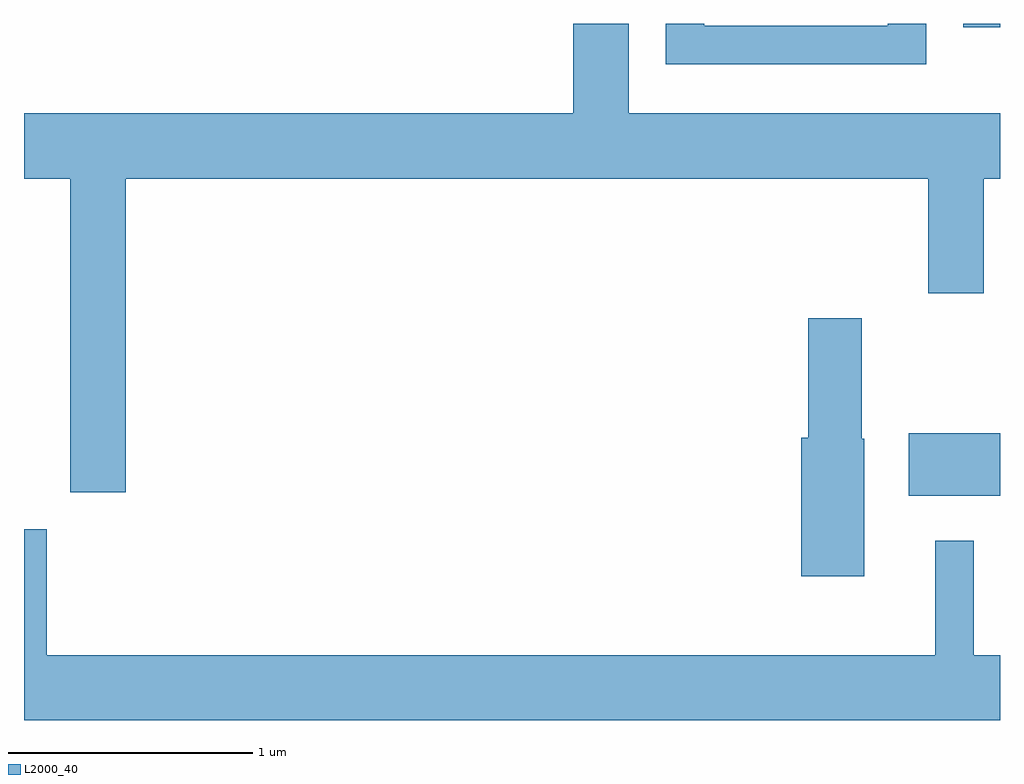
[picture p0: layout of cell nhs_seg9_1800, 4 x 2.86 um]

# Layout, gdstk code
import gdstk
lib = gdstk.Library(unit=1e-6, precision=1e-09)
def R(c, l, rs):  # rectangles x0, y0, x1, y1
    for r in rs: c.add(gdstk.rectangle(r[:2], r[2:], *l))
def P(c, l, *ps):  # polygons
    for p in ps: c.add(gdstk.Polygon(p, *l))
L2000_40 = (2000, 40)

nhs_seg9_1800 = lib.new_cell('nhs_seg9_1800')
R(nhs_seg9_1800, L2000_40, [(241.236,2010.496,241.611,2010.754), (241.461,2012.416,241.611,2012.432)])
P(nhs_seg9_1800, L2000_40, [(241.309,2012.432),(241.151,2012.432),(241.151,2012.424),(240.399,2012.424),(240.399,2012.432),(240.241,2012.432),(240.241,2012.266),(241.309,2012.266)],
  [(238.029,2011.796),(241.316,2011.796),(241.316,2011.326),(241.544,2011.326),(241.544,2011.796),(241.611,2011.796),(241.611,2012.064),(240.089,2012.064),(240.089,2012.432),(239.861,2012.432),(239.861,2012.064),(237.611,2012.064),(237.611,2011.796),(237.801,2011.796),(237.801,2010.511),(238.029,2010.511)],
  [(241.054,2010.73),(241.044,2010.73),(241.044,2011.224),(240.826,2011.224),(240.826,2010.734),(240.796,2010.734),(240.796,2010.166),(241.054,2010.166)],
  [(241.611,2009.844),(241.504,2009.844),(241.504,2010.313),(241.346,2010.313),(241.346,2009.844),(237.704,2009.844),(237.704,2010.359),(237.611,2010.359),(237.611,2009.576),(241.611,2009.576)])

lib.write_gds('nhs_seg9_1800.gds')
